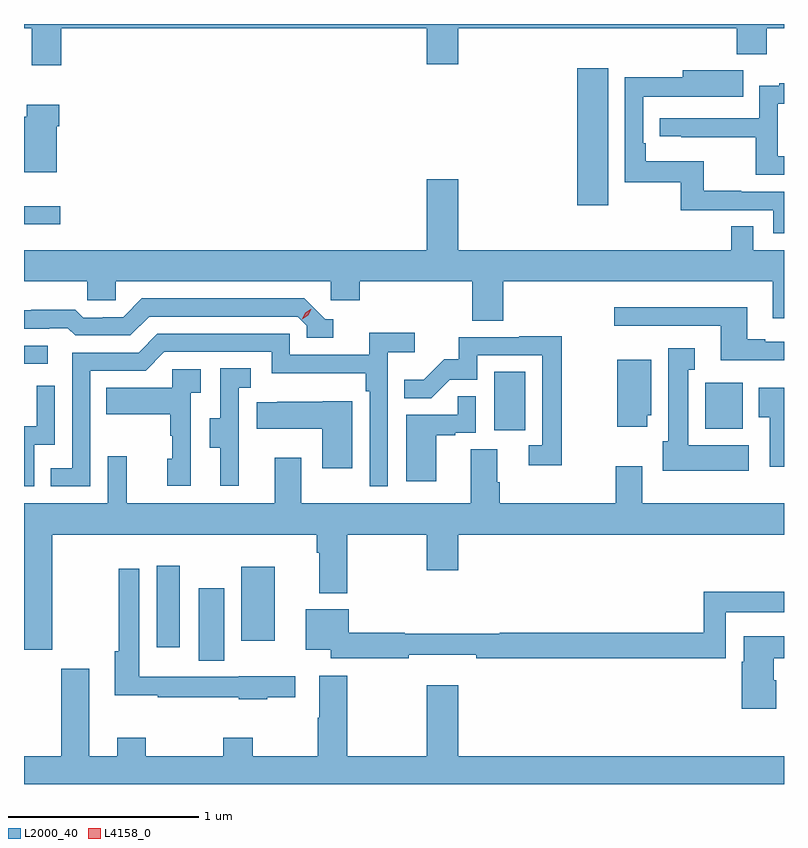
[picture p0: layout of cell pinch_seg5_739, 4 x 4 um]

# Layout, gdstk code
import gdstk
lib = gdstk.Library(unit=1e-6, precision=1e-09)
def R(c, l, rs):  # rectangles x0, y0, x1, y1
    for r in rs: c.add(gdstk.rectangle(r[:2], r[2:], *l))
def P(c, l, *ps):  # polygons
    for p in ps: c.add(gdstk.Polygon(p, *l))
L2000_40 = (2000, 40)
L4158_0 = (4158, 0)

pinch_seg5_739 = lib.new_cell('pinch_seg5_739')
R(pinch_seg5_739, L2000_40, [(883.088,898.72,883.222,899.101), (882.866,898.791,882.988,899.221), (883.31,898.826,883.486,899.215), (884.642,899.934,884.806,900.241), (885.752,899.942,885.949,900.184), (882.167,900.282,882.292,900.378), (882.167,901.016,882.358,901.113), (885.08,901.116,885.241,901.837)])
P(pinch_seg5_739, L2000_40, [(882.167,902.048),(882.209,902.048),(882.209,901.854),(882.362,901.854),(882.362,902.048),(884.288,902.048),(884.288,901.86),(884.452,901.86),(884.452,902.048),(885.917,902.048),(885.917,901.913),(886.077,901.913),(886.077,902.048),(886.167,902.048),(886.167,902.071),(882.167,902.071)],
  [(886.167,901.188),(885.941,901.188),(885.941,901.193),(885.745,901.193),(885.745,901.348),(885.44,901.348),(885.44,901.444),(885.426,901.444),(885.426,901.689),(885.739,901.689),(885.739,901.688),(885.953,901.688),(885.953,901.828),(885.635,901.828),(885.635,901.79),(885.33,901.79),(885.33,901.239),(885.624,901.239),(885.624,901.092),(886.11,901.092),(886.11,900.969),(886.167,900.969)],
  [(886.167,901.374),(886.134,901.374),(886.134,901.65),(886.167,901.65),(886.167,901.759),(886.141,901.759),(886.141,901.747),(886.038,901.747),(886.038,901.575),(885.513,901.575),(885.513,901.479),(885.625,901.479),(885.625,901.474),(886.018,901.474),(886.018,901.278),(886.167,901.278)],
  [(882.34,901.532),(882.353,901.532),(882.353,901.645),(882.182,901.645),(882.182,901.584),(882.167,901.584),(882.167,901.292),(882.34,901.292)],
  [(884.69,900.716),(886.109,900.716),(886.109,900.522),(886.167,900.522),(886.167,900.88),(886.005,900.88),(886.005,901.007),(885.889,901.007),(885.889,900.88),(884.452,900.88),(884.452,901.255),(884.288,901.255),(884.288,900.88),(882.167,900.88),(882.167,900.716),(882.501,900.716),(882.501,900.618),(882.651,900.618),(882.651,900.716),(883.782,900.716),(883.782,900.618),(883.934,900.618),(883.934,900.716),(884.525,900.716),(884.525,900.508),(884.69,900.508)],
  [(883.795,900.516),(883.752,900.516),(883.641,900.627),(882.788,900.627),(882.689,900.528),(882.582,900.528),(882.582,900.525),(882.479,900.525),(882.437,900.568),(882.204,900.568),(882.204,900.565),(882.167,900.565),(882.167,900.468),(882.299,900.468),(882.299,900.471),(882.398,900.471),(882.437,900.432),(882.726,900.432),(882.825,900.531),(883.608,900.531),(883.656,900.483),(883.656,900.42),(883.795,900.42)],
  [(886.167,900.399),(886.069,900.399),(886.069,900.412),(885.973,900.412),(885.973,900.58),(885.273,900.58),(885.273,900.483),(885.833,900.483),(885.833,900.302),(886.167,900.302)],
  [(882.516,900.246),(882.807,900.246),(882.906,900.345),(883.47,900.345),(883.47,900.233),(883.966,900.233),(883.966,900.137),(883.986,900.137),(883.986,899.637),(884.082,899.637),(884.082,900.344),(884.224,900.344),(884.224,900.446),(883.985,900.446),(883.985,900.33),(883.566,900.33),(883.566,900.441),(882.869,900.441),(882.77,900.342),(882.42,900.342),(882.42,899.733),(882.307,899.733),(882.307,899.637),(882.516,899.637)],
  [(884.996,900.428),(884.773,900.428),(884.773,900.423),(884.455,900.423),(884.455,900.306),(884.378,900.306),(884.271,900.199),(884.167,900.199),(884.167,900.1),(884.311,900.1),(884.409,900.198),(884.553,900.198),(884.553,900.327),(884.895,900.327),(884.895,899.853),(884.823,899.853),(884.823,899.748),(884.996,899.748)],
  [(885.982,899.854),(885.664,899.854),(885.664,900.251),(885.697,900.251),(885.697,900.364),(885.557,900.364),(885.557,899.874),(885.53,899.874),(885.53,899.72),(885.982,899.72)],
  [(885.448,900.012),(885.469,900.012),(885.469,900.304),(885.29,900.304),(885.29,899.952),(885.448,899.952)],
  [(883.298,899.853),(883.296,899.853),(883.296,900.157),(883.36,900.157),(883.36,900.26),(883.2,900.26),(883.2,899.997),(883.145,899.997),(883.145,899.842),(883.199,899.842),(883.199,899.64),(883.298,899.64)],
  [(883.044,900.131),(883.096,900.131),(883.096,900.255),(882.948,900.255),(882.948,900.157),(882.601,900.157),(882.601,900.017),(882.936,900.017),(882.936,899.903),(882.946,899.903),(882.946,899.784),(882.92,899.784),(882.92,899.64),(883.044,899.64)],
  [(882.222,899.856),(882.33,899.856),(882.33,900.166),(882.234,900.166),(882.234,899.954),(882.167,899.954),(882.167,899.637),(882.222,899.637)],
  [(886.167,900.157),(886.034,900.157),(886.034,900.001),(886.091,900.001),(886.091,899.742),(886.167,899.742)],
  [(884.338,899.907),(884.438,899.907),(884.438,899.919),(884.544,899.919),(884.544,900.113),(884.449,900.113),(884.449,900.015),(884.18,900.015),(884.18,899.664),(884.338,899.664)],
  [(883.894,900.085),(883.74,900.085),(883.74,900.082),(883.501,900.082),(883.501,900.079),(883.393,900.079),(883.393,899.942),(883.736,899.942),(883.736,899.733),(883.894,899.733)],
  [(883.627,899.788),(883.487,899.788),(883.487,899.548),(882.707,899.548),(882.707,899.797),(882.609,899.797),(882.609,899.548),(882.167,899.548),(882.167,898.778),(882.316,898.778),(882.316,899.384),(883.709,899.384),(883.709,899.288),(883.721,899.288),(883.721,899.075),(883.869,899.075),(883.869,899.384),(884.288,899.384),(884.288,899.196),(884.452,899.196),(884.452,899.384),(886.167,899.384),(886.167,899.548),(885.421,899.548),(885.421,899.743),(885.281,899.743),(885.281,899.548),(884.672,899.548),(884.672,899.66),(884.659,899.66),(884.659,899.834),(884.519,899.834),(884.519,899.548),(883.627,899.548)],
  [(883.446,898.527),(883.594,898.527),(883.594,898.639),(883.296,898.639),(883.296,898.635),(882.984,898.635),(882.984,898.636),(882.774,898.636),(882.774,899.203),(882.666,899.203),(882.666,898.771),(882.644,898.771),(882.644,898.537),(882.871,898.537),(882.871,898.527),(883.296,898.527),(883.296,898.517),(883.446,898.517)],
  [(884.192,898.751),(884.548,898.751),(884.548,898.732),(885.861,898.732),(885.861,898.974),(886.167,898.974),(886.167,899.083),(885.745,899.083),(885.745,898.868),(884.671,898.868),(884.671,898.861),(884.172,898.861),(884.172,898.868),(883.876,898.868),(883.876,898.99),(883.649,898.99),(883.649,898.778),(883.782,898.778),(883.782,898.732),(884.192,898.732)],
  [(886.127,898.617),(886.114,898.617),(886.114,898.732),(886.167,898.732),(886.167,898.848),(885.956,898.848),(885.956,898.715),(885.944,898.715),(885.944,898.467),(886.127,898.467)],
  [(882.807,898.315),(882.659,898.315),(882.659,898.216),(882.511,898.216),(882.511,898.678),(882.364,898.678),(882.364,898.216),(882.167,898.216),(882.167,898.071),(886.167,898.071),(886.167,898.216),(884.452,898.216),(884.452,898.591),(884.288,898.591),(884.288,898.216),(883.869,898.216),(883.869,898.642),(883.721,898.642),(883.721,898.421),(883.714,898.421),(883.714,898.216),(883.371,898.216),(883.371,898.315),(883.216,898.315),(883.216,898.216),(882.807,898.216)])
P(pinch_seg5_739, L4158_0, [(883.632,900.517),(883.632,900.517),(883.647,900.55),(883.677,900.57),(883.678,900.57),(883.678,900.57),(883.662,900.537),(883.632,900.517)])

lib.write_gds('pinch_seg5_739.gds')
